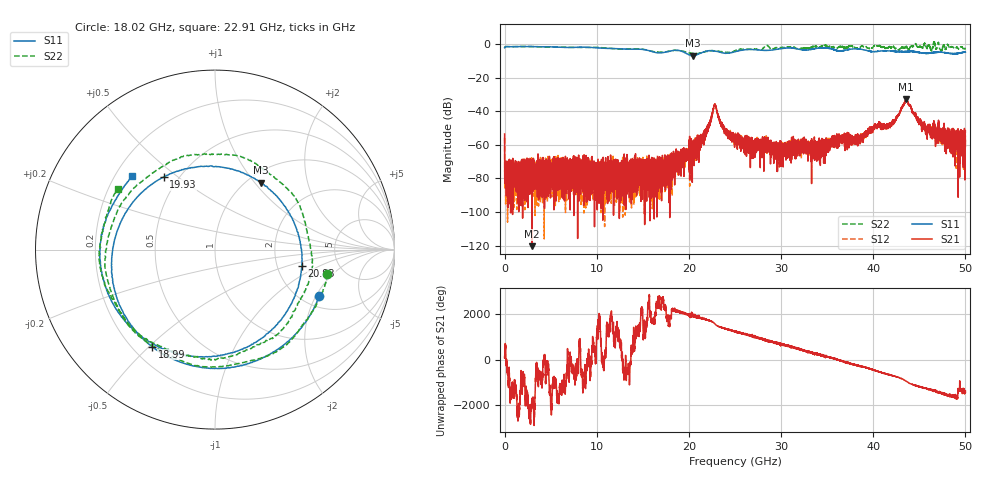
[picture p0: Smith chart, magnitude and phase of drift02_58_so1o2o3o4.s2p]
!Created with skrf (http://scikit-rf.org).
# Hz S RI R 50.0
!freq ReS11 ImS11 ReS21 ImS21 ReS12 ImS12 ReS22 ImS22
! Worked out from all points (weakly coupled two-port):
!   10001 points, 300 kHz to 50 GHz, reference 50 ohm
!   highest |S21| = -32.83 dB at 43.59 GHz (marker M1); lowest = -120.4 dB at 2.965 GHz (marker M2)
!   lowest |S11| = -6.9 dB at 20.43 GHz (marker M3), VSWR 2.64, Z = 57.3 + j53.6 ohm
!   |S11| at or under -10 dB: nowhere
!   |S22| runs from -5.7 to 2.2 dB; largest |S21 - S12| = 0.0028
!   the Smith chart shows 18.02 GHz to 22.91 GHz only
!   S11 on the Smith chart (normalised r, x): 18.02 GHz: 2.45, -2.13; 18.99 GHz: 0.28, -0.51; 19.93 GHz: 0.41, +0.44; 20.93 GHz: 2.76, -0.65; 22.91 GHz: 0.27, +0.36
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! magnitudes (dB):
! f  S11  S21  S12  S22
! 300 kHz  -2.1  -53.5  -55.8  -2.1
! 255.3 MHz  -1.4  -71.5  -88.4  -1.4
! 2.965 GHz  -1.4  -120.4  -71.4  -1.4
! 8.335 GHz  -1.7  -80.8  -82.4  -1.9
! 16.67 GHz  -5.2  -81.2  -81.5  -4.7
! 18.02 GHz  -3.9  -68.9  -68.5  -3.9
! 18.99 GHz  -3.8  -66.8  -71.1  -3.9
! 19.93 GHz  -6.1  -64.4  -66.5  -5.2
! 20.43 GHz  -6.9  -60.4  -59.3  -5.4
! 20.93 GHz  -6.2  -59.9  -56.5  -5.6
! 22.91 GHz  -4.2  -37.1  -37.0  -3.9
! 23.72 GHz  -5.3  -50.1  -49.2  -4.6
! 25 GHz  -4.5  -55.0  -55.8  -3.9
! 29.77 GHz  -2.8  -64.8  -63.6  -2.0
! 33.34 GHz  -3.0  -64.9  -60.1  -1.6
! 38.22 GHz  -2.8  -54.7  -57.7  -2.3
! 40.36 GHz  -4.3  -48.7  -49.6  -0.9
! 41.67 GHz  -3.9  -48.5  -47.5  -2.0
! 43.59 GHz  -4.7  -32.8  -33.6  -1.5
! 45.81 GHz  -5.5  -49.6  -51.7  -2.4
! 49.57 GHz  -5.0  -56.7  -56.6  -1.6
! 50 GHz  -4.7  -57.5  -51.3  -2.7
